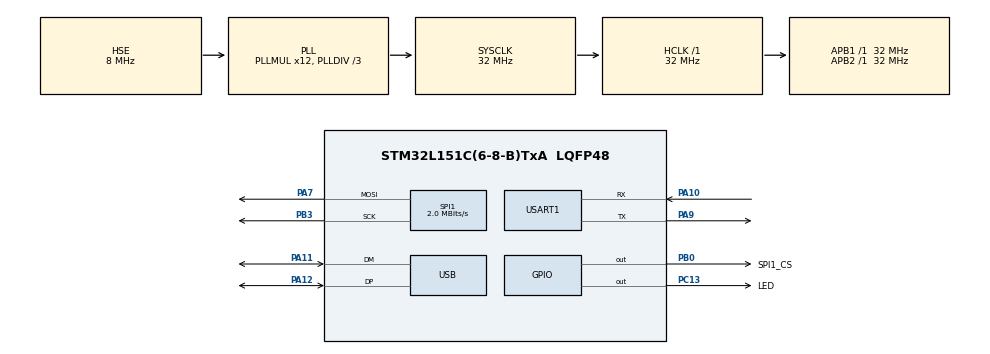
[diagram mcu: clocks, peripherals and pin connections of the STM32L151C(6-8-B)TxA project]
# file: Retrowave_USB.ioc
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Mcu.Family=STM32L1
RCC.MSI_VALUE=2097000
Dma.SPI1_TX.0.MemInc=DMA_MINC_ENABLE
USB_DEVICE.CLASS_NAME_FS=CDC
PH0-OSC_IN.Signal=RCC_OSC_IN
Dma.SPI1_TX.0.PeriphInc=DMA_PINC_DISABLE
PA7.Mode=TX_Only_Simplex_Unidirect_Master
PA10.Mode=Asynchronous
SPI1.VirtualType=VM_MASTER
USB_DEVICE.VirtualModeFS=Cdc_FS
PA11.Mode=Device
PB0.GPIO_Label=SPI1_CS
PC14-OSC32_IN.Signal=RCC_OSC32_IN
RCC.SYSCLKSource=RCC_SYSCLKSOURCE_PLLCLK
ProjectManager.StackSize=0x400
PB0.GPIO_Speed=GPIO_SPEED_FREQ_VERY_HIGH
NVIC.DMA1_Channel3_IRQn=true\:0\:0\:false\:false\:true\:false\:true
PA13.Signal=SYS_JTMS-SWDIO
USB_DEVICE.MANUFACTURER_STRING=SudoMaker
PA9.Mode=Asynchronous
PA12.Signal=USB_DP
RCC.PLLDIV=RCC_PLL_DIV3
ProjectManager.TargetToolchain=SW4STM32
USB_DEVICE.PRODUCT_STRING_CDC_FS=Retrowave USB Adapter
PB0.PinState=GPIO_PIN_SET
SPI1.Direction=SPI_DIRECTION_2LINES
Dma.SPI1_TX.0.PeriphDataAlignment=DMA_PDATAALIGN_BYTE
RCC.HCLKFreq_Value=32000000
Dma.SPI1_TX.0.Direction=DMA_MEMORY_TO_PERIPH
VP_USB_DEVICE_VS_USB_DEVICE_CDC_FS.Mode=CDC_FS
PC13-WKUP2.GPIO_Label=LED
RCC.APB2TimFreq_Value=32000000
PA9.Signal=USART1_TX
PA0-WKUP1.Signal=SYS_WKUP1
SPI1.CalculateBaudRate=2.0 MBits/s
RCC.LSE_VALUE=32768
RCC.AHBFreq_Value=32000000
PH0-OSC_IN.Mode=HSE-External-Oscillator
RCC.HSE_VALUE=8000000
PC13-WKUP2.Signal=GPIO_Output
PB3.Mode=TX_Only_Simplex_Unidirect_Master
board=custom
RCC.VCOOutputFreq_Value=96000000
RCC.PLLMUL=RCC_PLL_MUL12
USB.low_power_enable=DISABLE
PC13-WKUP2.GPIO_Speed=GPIO_SPEED_FREQ_VERY_HIGH
RCC.APB2Freq_Value=32000000
PC14-OSC32_IN.Mode=LSE-External-Clock-Source
SPI1.Mode=SPI_MODE_MASTER
PA14.Mode=Serial_Wire
PH1-OSC_OUT.Signal=RCC_OSC_OUT
Dma.SPI1_TX.0.Instance=DMA1_Channel3
PA0-WKUP1.Mode=SYS_WakeUp0
PA13.Mode=Serial_Wire
Mcu.Name=STM32L151C(6-8-B)TxA
PH1-OSC_OUT.Mode=HSE-External-Oscillator
Dma.SPI1_TX.0.Mode=DMA_NORMAL
RCC.48MHZClocksFreq_Value=48000000
PB3.Signal=SPI1_SCK
RCC.SYSCLKFreq_VALUE=32000000
Mcu.Package=LQFP48
PA12.Mode=Device
USART1.VirtualMode=VM_ASYNC
PA11.Signal=USB_DM
PA10.Signal=USART1_RX
PA14.Signal=SYS_JTCK-SWCLK
ProjectManager.HeapSize=0x200
Dma.SPI1_TX.0.Priority=DMA_PRIORITY_VERY_HIGH
Dma.SPI1_TX.0.MemDataAlignment=DMA_MDATAALIGN_BYTE
NVIC.USB_LP_IRQn=true\:0\:0\:false\:false\:true\:false\:true
RCC.HSI_VALUE=16000000
NVIC.PriorityGroup=NVIC_PRIORITYGROUP_4
RCC.APB1TimFreq_Value=32000000
PB0.GPIO_ModeDefaultOutputPP=GPIO_MODE_OUTPUT_PP
Dma.Request0=SPI1_TX
RCC.APB1Freq_Value=32000000
SPI1.BaudRatePrescaler=SPI_BAUDRATEPRESCALER_16
PB0.Signal=GPIO_Output
USB_DEVICE.VirtualMode=Cdc
PA7.Signal=SPI1_MOSI

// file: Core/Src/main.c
/* USER CODE BEGIN Header */
/**
  ******************************************************************************
  * @file           : main.c
  * @brief          : Main program body
  ******************************************************************************
  * @attention
  *
  * <h2><center>&copy; Copyright (c) 2021 STMicroelectronics.
  * All rights reserved.</center></h2>
  *
  * This software component is licensed by ST under Ultimate Liberty license
  * SLA0044, the "License"; You may not use this file except in compliance with
  * the License. You may obtain a copy of the License at:
  *                             www.st.com/SLA0044
  *
  ******************************************************************************
  */
/* USER CODE END Header */
#include "main.h"
#include "dma.h"
#include "spi.h"
#include "usart.h"
#include "usb_device.h"
#include "gpio.h"

void SystemClock_Config(void);

/* USER CODE BEGIN 0 */

int packet_tx_done = 1;

void uprintf(const char *fmt, ...)
{
	int size = 0;
	char p[128];
	va_list ap;

	va_start(ap, fmt);
	size = vsnprintf(p, 127, fmt, ap);
	va_end(ap);

	HAL_UART_Transmit(&huart1, (uint8_t *)p, size, HAL_MAX_DELAY);

}

void HAL_SPI_TxCpltCallback(SPI_HandleTypeDef *hspi)
{
//	if (packet_tx_done)
	HAL_GPIO_WritePin(SPI1_CS_GPIO_Port, SPI1_CS_Pin, 1);
	packet_tx_done = 1;
//	uprintf("SPI TX Done\n");

}

typedef enum {
	RetroWave_Board_Unknown = 0,
	RetroWave_Board_OPL3 = 0x21 << 1,
	RetroWave_Board_MiniBlaster = 0x20 << 1,
	RetroWave_Board_MasterGear = 0x24 << 1
} RetroWaveBoardType;

void retrowave_mini_io_callback(void *userp, uint32_t data_rate, const void *tx_buf, void *rx_buf, uint32_t len) {
	LED_GPIO_Port->BSRR = (uint32_t)LED_Pin; // 1
	SPI1_CS_GPIO_Port->BSRR = (uint32_t)SPI1_CS_Pin << 16; // 0

	HAL_SPI_Transmit(&hspi1, (uint8_t *)tx_buf, len, HAL_MAX_DELAY);

	SPI1_CS_GPIO_Port->BSRR = (uint32_t)SPI1_CS_Pin; // 1
	LED_GPIO_Port->BSRR = (uint32_t)LED_Pin << 16; // 0
}

void retrowave_mini_io_init() {
	// Sync CS state
	uint8_t empty_byte = 0;
	retrowave_mini_io_callback(NULL, 1e6, &empty_byte, NULL, 1);

	uint8_t init_sequence_1[] = {
		0x00,
		0x0a,	// IOCON register
		0x28	// Enable: HAEN, SEQOP
	};

	uint8_t init_sequence_2[] = {
		0x00,
		0x00,	// IODIRA register
		0x00,	// Set output
		0x00	// Set output
	};

	uint8_t init_sequence_3[] = {
		0x00,
		0x12,	// GPIOA register
		0xff,	// Set all HIGH
		0xff	// Set all HIGH
	};

	for (uint8_t i=0x20; i<0x28; i++) {
		uint8_t addr = i << 1;

		init_sequence_1[0] = init_sequence_2[0] = init_sequence_3[0] = addr;
		retrowave_mini_io_callback(NULL, 1e6, init_sequence_1, NULL, sizeof(init_sequence_1));
		retrowave_mini_io_callback(NULL, 1e6, init_sequence_2, NULL, sizeof(init_sequence_2));
		retrowave_mini_io_callback(NULL, 1e6, init_sequence_3, NULL, sizeof(init_sequence_3));
	}
}

void retrowave_mini_reset_opl3() {
	uint8_t buf[] = {RetroWave_Board_OPL3, 0x12, 0xfe};
	retrowave_mini_io_callback(NULL, 1e6, buf, NULL, sizeof(buf));
	buf[2] = 0xff;
	retrowave_mini_io_callback(NULL, 1e6, buf, NULL, sizeof(buf));
}

void retrowave_mini_reset_ym2413() {
	uint8_t buf[] = {RetroWave_Board_MasterGear, 0x12, 0xfe};
	retrowave_mini_io_callback(NULL, 1e6, buf, NULL, sizeof(buf));
	buf[2] = 0xff;
	retrowave_mini_io_callback(NULL, 1e6, buf, NULL, sizeof(buf));
}

void retrowave_mini_mute_sn76489() {
	uint8_t mute_tone1 = 0x9f;
	uint8_t mute_tone2 = 0xdf;
	uint8_t mute_tone3 = 0xbf;
	uint8_t mute_noise = 0xff;

	uint8_t buf[] = {RetroWave_Board_MasterGear, 0x12,
			 0xff, mute_tone1, 0x5f, mute_tone1, 0x0f, mute_tone1, 0xaf, mute_tone1, 0xff, 0x00,
			 0xff, mute_tone2, 0x5f, mute_tone2, 0x0f, mute_tone2, 0xaf, mute_tone2, 0xff, 0x00,
			 0xff, mute_tone3, 0x5f, mute_tone3, 0x0f, mute_tone3, 0xaf, mute_tone3, 0xff, 0x00,
			 0xff, mute_noise, 0x5f, mute_noise, 0x0f, mute_noise, 0xaf, mute_noise, 0xff, 0x00,
	};

	retrowave_mini_io_callback(NULL, 1e6, buf, NULL, sizeof(buf));
}

void retrowave_mini_reset() {
	retrowave_mini_reset_opl3();
	retrowave_mini_reset_ym2413();
	retrowave_mini_mute_sn76489();
}

/* USER CODE END 0 */

int main(void)
{

	/* MCU Configuration--------------------------------------------------------*/

	/* Reset of all peripherals, Initializes the Flash interface and the Systick. */
	HAL_Init();

	/* Configure the system clock */
	SystemClock_Config();

	/* Initialize all configured peripherals */
	MX_GPIO_Init();
	MX_DMA_Init();
	MX_SPI1_Init();
	MX_USART1_UART_Init();

	/* USER CODE BEGIN 2 */

	uprintf("Hello RetroWave!\n");
	uprintf("Initializing boards, plese wait...\n");

	HAL_Delay(10);

	retrowave_mini_io_init();
	retrowave_mini_reset();

	MX_USB_DEVICE_Init();

	uprintf("Initialization done. Enjoy!\n");

	/* USER CODE END 2 */

	/* Infinite loop */
	while (1)
	{

	}
}

void SystemClock_Config(void)
{
	RCC_OscInitTypeDef RCC_OscInitStruct = {0};
	RCC_ClkInitTypeDef RCC_ClkInitStruct = {0};

	/** Configure the main internal regulator output voltage
	*/
	__HAL_PWR_VOLTAGESCALING_CONFIG(PWR_REGULATOR_VOLTAGE_SCALE1);
	/** Initializes the RCC Oscillators according to the specified parameters
	* in the RCC_OscInitTypeDef structure.
	*/
	RCC_OscInitStruct.OscillatorType = RCC_OSCILLATORTYPE_HSE;
	RCC_OscInitStruct.HSEState = RCC_HSE_ON;
	RCC_OscInitStruct.PLL.PLLState = RCC_PLL_ON;
	RCC_OscInitStruct.PLL.PLLSource = RCC_PLLSOURCE_HSE;
	RCC_OscInitStruct.PLL.PLLMUL = RCC_PLL_MUL12;
	RCC_OscInitStruct.PLL.PLLDIV = RCC_PLL_DIV3;
	if (HAL_RCC_OscConfig(&RCC_OscInitStruct) != HAL_OK)
	{
		Error_Handler();
	}
	/** Initializes the CPU, AHB and APB buses clocks
	*/
	RCC_ClkInitStruct.ClockType = RCC_CLOCKTYPE_HCLK|RCC_CLOCKTYPE_SYSCLK
				      |RCC_CLOCKTYPE_PCLK1|RCC_CLOCKTYPE_PCLK2;
	RCC_ClkInitStruct.SYSCLKSource = RCC_SYSCLKSOURCE_PLLCLK;
	RCC_ClkInitStruct.AHBCLKDivider = RCC_SYSCLK_DIV1;
	RCC_ClkInitStruct.APB1CLKDivider = RCC_HCLK_DIV1;
	RCC_ClkInitStruct.APB2CLKDivider = RCC_HCLK_DIV1;

	if (HAL_RCC_ClockConfig(&RCC_ClkInitStruct, FLASH_LATENCY_1) != HAL_OK)
	{
		Error_Handler();
	}
}

void Error_Handler(void)
{
	__disable_irq();
	while (1)
	{
	}
}

/************************ (C) COPYRIGHT STMicroelectronics *****END OF FILE****/
